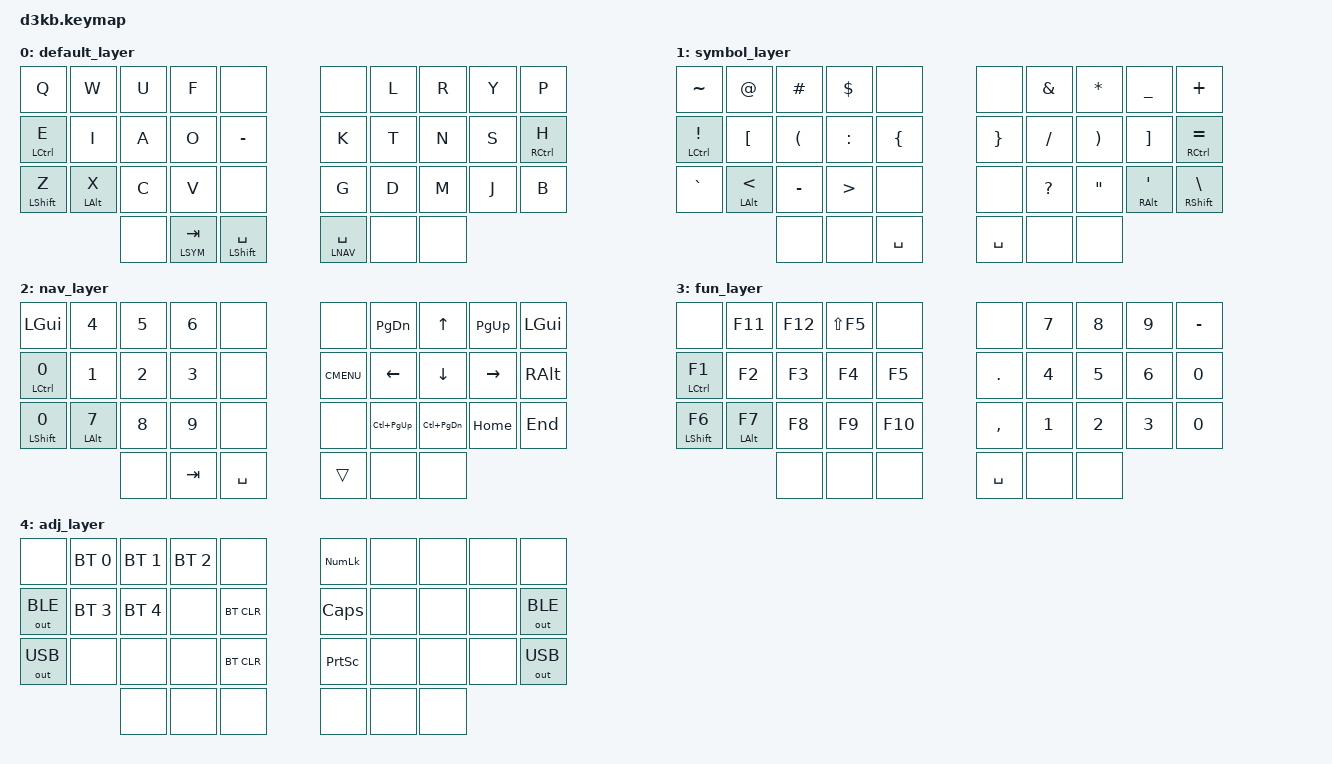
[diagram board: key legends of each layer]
#include <behaviors.dtsi>
#include <dt-bindings/zmk/keys.h>
#include <dt-bindings/zmk/bt.h>
#include <dt-bindings/zmk/outputs.h>

#define LDEF 0
#define LSYM 1
#define LNAV 2
#define LFUN 3
#define LADJ 4

&mt {
    tapping-term-ms = <175>;
    flavor = "tap-preferred";
};

&lt {
    tapping-term-ms = <175>;
    flavor = "balanced";
};


&caps_word {
    continue-list = <UNDERSCORE MINUS BACKSPACE>;
};

/ {
    combos{
        compatible = "zmk,combos";
        timeout-ms = <200>;

        // left 
        // T 1 2 3 4 *    | 00 01 02 03 **
        // M 1 2 3 4 5    | 10 11 12 13 14
        // B 1 2 3 4 5 6  | 20 21 22 23 24 32
        combo_left_234T {
            key-positions = <1 2 3>;
            bindings = <&sl LADJ>;
        };
        combo_left_23T {
            key-positions = <1 2>;
            bindings = <&kp ESC>;
        };
        combo_left_12M {
            key-positions = <10 11>;
            bindings = <&kp TAB>;
        };
        combo_left_23M {
            key-positions = <11 12>;
            bindings = <&mo LFUN>;
        };
        combo_left_34M {
            key-positions = <12 13>;
            bindings = <&mo LFUN>;
        };
        combo_left_24M {
            key-positions = <11 13>;
            bindings = <&mo LFUN>;
        };
        combo_left_45M {
            key-positions = <13 14>;
            bindings = <&kp PRCNT>;
        };
        combo_left_4MB {
            key-positions = <13 23>;
            bindings = <&kp PIPE>;
        };
        combo_left_45B {
            key-positions = <23 24>;
            bindings = <&caps_word>;
        };
        combo_left_56B {
            key-positions = <24 32>;
            bindings = <&kp LGUI>;
        };

        // right 
        // T * * 2 3 4 5  | ** ** 06 07 08 09
        // M * 1 2 3 4 5  | ** 15 16 17 18 19
        // B 0 1 2 3 4 5  | 33 25 26 27 28 29
        combo_right_2TM {
            key-positions = <6 16>;
            bindings = <&kp COMMA>;
        };
        combo_right_3TM {
            key-positions = < 7 17>;
            bindings = <&kp DOT>;
        };
        combo_right_4TM {
            key-positions = < 8 18>;
            bindings = <&kp SEMI>;
        };
        combo_right_12M {
            key-positions = <15 16>;
            bindings = <&kp CARET>;
        };
        combo_right_23M {
            key-positions = <16 17>;
            bindings = <&kp BSPC>;
        };
        combo_right_34M {
            key-positions = <17 18>;
            bindings = <&kp RET>;
        };
        combo_right_01B {
            key-positions = <33 25>;
            bindings = <&mo LFUN>;
        };
        combo_right_23B {
            key-positions = <26 27>;
            bindings = <&kp DEL>;
        };
        combo_right_34B {
            key-positions = <27 28>;
            bindings = <&kp RET>;
        };
    };

    behaviors {
    };

    keymap {
        compatible = "zmk,keymap";

        default_layer {
            bindings = <
                &kp Q       &kp W       &kp U    &kp F         &none              &none               &kp L &kp R     &kp Y      &kp P 
                &mt LCTRL E &kp I       &kp A    &kp O         &kp MINUS          &kp K               &kp T &kp N     &kp S      &mt RCTRL H 
                &mt LSHFT Z &mt LALT X  &kp C    &kp V         &none              &kp G               &kp D &kp M     &kp J      &kp B
                                        &none    &lt LSYM TAB  &mt LSHFT SPACE    &lt LNAV SPACE      &none &none 
            >;
        };

        symbol_layer {
            bindings = <
                &kp TILDE       &kp AT        &kp HASH      &kp DLLR  &none            &none          &kp AMPS       &kp ASTRK &kp UNDER    &kp PLUS 
                &mt LCTRL EXCL  &kp LBKT      &kp LPAR      &kp COLON &kp LBRC         &kp RBRC       &kp SLASH      &kp RPAR  &kp RBKT     &mt RCTRL EQUAL 
                &kp GRAVE       &mt LALT LT   &kp MINUS     &kp GT    &none            &none          &kp QMARK      &kp DQT   &mt RALT SQT &mt RSHFT BSLH 
                                              &none         &none     &kp SPACE        &kp SPACE      &none          &none
            >;
        };

        nav_layer {
            bindings = <
                &kp LGUI     &kp N4      &kp N5    &kp N6     &none             &none       &kp PG_DN     &kp UP        &kp PG_UP  &kp LGUI
                &mt LCTRL N0 &kp N1      &kp N2    &kp N3     &none             &kp K_CMENU &kp LEFT      &kp DOWN      &kp RIGHT  &kp RALT
                &mt LSHFT N0 &mt LALT N7 &kp N8    &kp N9     &none              &none       &kp LC(PG_UP) &kp LC(PG_DN) &kp HOME   &kp END
                                         &none     &kp TAB    &kp SPACE         &trans      &none         &none 
            >;
        };

        fun_layer {
            bindings = <
                &none         &kp F11      &kp F12  &kp LS(F5)    &none          &none       &kp N7 &kp N8 &kp N9 &kp MINUS
                &mt LCTRL F1  &kp F2       &kp F3   &kp F4        &kp F5         &kp DOT     &kp N4 &kp N5 &kp N6 &kp N0
                &mt LSHFT F6  &mt LALT F7  &kp F8   &kp F9        &kp F10        &kp COMMA   &kp N1 &kp N2 &kp N3 &kp N0
                                           &none    &none         &none          &kp SPACE   &none  &none 
            >;
        };


        adj_layer {
            bindings = <
                &none            &bt BT_SEL 0 &bt BT_SEL 1 &bt BT_SEL 2 &none                &kp KP_NUM  &none     &none     &none    &none
                &out OUT_BLE     &bt BT_SEL 3 &bt BT_SEL 4 &none        &bt BT_CLR           &kp CAPS    &none     &none     &none    &out OUT_BLE
                &out OUT_USB     &none        &none        &none        &bt BT_CLR           &kp PSCRN   &none     &none     &none    &out OUT_USB
                                              &none        &none        &none                &none       &none     &none
            >;
        };
        
    };
};

